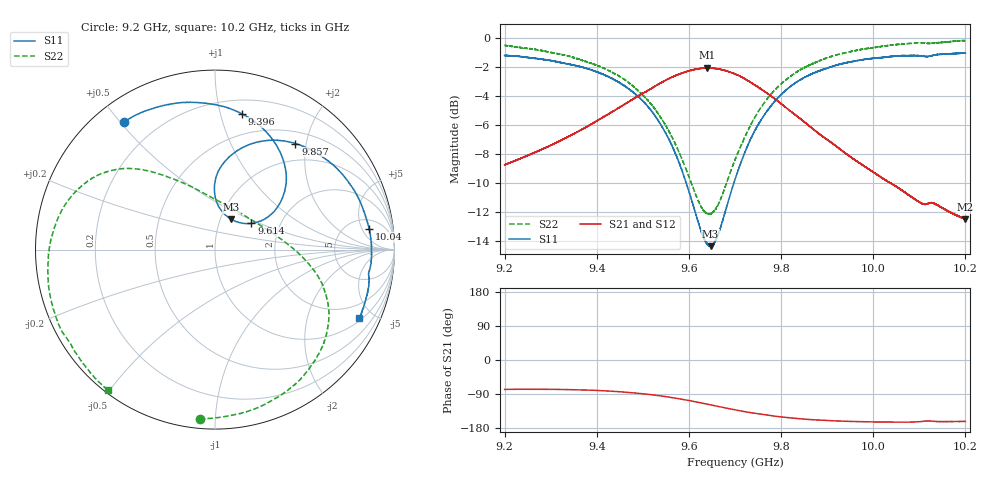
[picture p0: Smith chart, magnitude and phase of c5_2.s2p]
!Agilent Technologies,N5242A,MY51221714,A.09.90.19
!Agilent N5242A: A.09.90.19
!Date: Saturday, March 16, 2024 10:02:26
!Correction: S11(Full 2 Port(1,2))
!S21(Full 2 Port(1,2))
!S12(Full 2 Port(1,2))
!S22(Full 2 Port(1,2))
!S2P File: Measurements: S11, S21, S12, S22:
# Hz S  dB  R 50
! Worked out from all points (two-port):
!   16001 points, 9.2 GHz to 10.2 GHz, reference 50 ohm
!   highest |S21| = -2.03 dB at 9.639 GHz (marker M1); lowest = -12.5 dB at 10.2 GHz (marker M2)
!   |S21| within 3 dB of the highest: 9.436 GHz to 9.82 GHz (384.7 MHz wide, 4 % of centre)
!   lowest |S11| = -14.4 dB at 9.647 GHz (marker M3), VSWR 1.47, Z = 56.3 + j19.7 ohm
!   |S11| at or under -10 dB: 9.594 GHz to 9.697 GHz (103 MHz wide, 1.07 % of centre)
!   |S22| runs from -12.2 to -0.1 dB; largest |S21 - S12| = 0.0093
!   S11 on the Smith chart (normalised r, x): 9.2 GHz: 0.09, +0.51; 9.396 GHz: 0.31, +1.17; 9.614 GHz: 1.43, +0.44; 9.857 GHz: 0.69, +1.81; 10.04 GHz: 8, +7; 10.2 GHz: 1.13, -4.14
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9.2e9  -1.18 125.5  -8.73 -77.6  -8.72 -78.2  -0.48 -95.2
9.277688e9  -1.41 107.8  -7.71 -77.3  -7.69 -77.8  -0.82 -74.1
9.366688e9  -1.97 86.3  -6.31 -79.0  -6.30 -79.4  -1.50 -50.9
9.396062e9  -2.26 78.7  -5.77 -80.1  -5.76 -80.7  -1.81 -43.5
9.463812e9  -3.36 60.3  -4.49 -85.1  -4.48 -85.6  -2.93 -27.5
9.533375e9  -5.67 41.0  -3.17 -93.9  -3.17 -94.4  -5.19 -10.7
9.575625e9  -8.33 32.6  -2.51 -101.7  -2.50 -102.3  -7.64 3.3
9.613938e9  -12.04 35.8  -2.13 -110.3  -2.13 -110.8  -10.74 26.8
9.63925e9  -14.15 53.8  -2.03 -116.4  -2.03 -117.0  -12.11 54.6
9.647125e9  -14.36 61.8  -2.05 -118.4  -2.04 -118.9  -12.12 64.4
9.664188e9  -13.46 78.2  -2.11 -122.7  -2.11 -123.3  -11.46 84.4
9.7e9  -9.75 90.5  -2.45 -131.4  -2.43 -132.0  -8.39 111.5
9.738125e9  -6.66 85.9  -3.12 -139.8  -3.10 -140.4  -5.74 125.9
9.784312e9  -4.43 73.5  -4.12 -147.9  -4.13 -148.5  -3.63 136.6
9.8565e9  -2.60 52.8  -5.92 -156.5  -5.91 -157.1  -1.92 151.2
9.866688e9  -2.45 50.1  -6.20 -157.4  -6.19 -158.0  -1.77 153.3
9.952188e9  -1.61 27.9  -8.22 -162.2  -8.22 -162.7  -0.90 171.8
1.003338e10  -1.27 8.9  -9.92 -163.7  -9.93 -164.4  -0.48 -169.1
1.003869e10  -1.24 7.6  -10.02 -163.9  -10.02 -164.4  -0.45 -167.9
1.010562e10  -1.21 -7.0  -11.40 -162.3  -11.41 -162.7  -0.29 -151.8
1.01995e10  -1.02 -25.2  -12.50 -162.0  -12.48 -162.7  -0.14 -127.6
1.02e10  -1.01 -25.4  -12.50 -162.0  -12.49 -162.7  -0.14 -127.4
